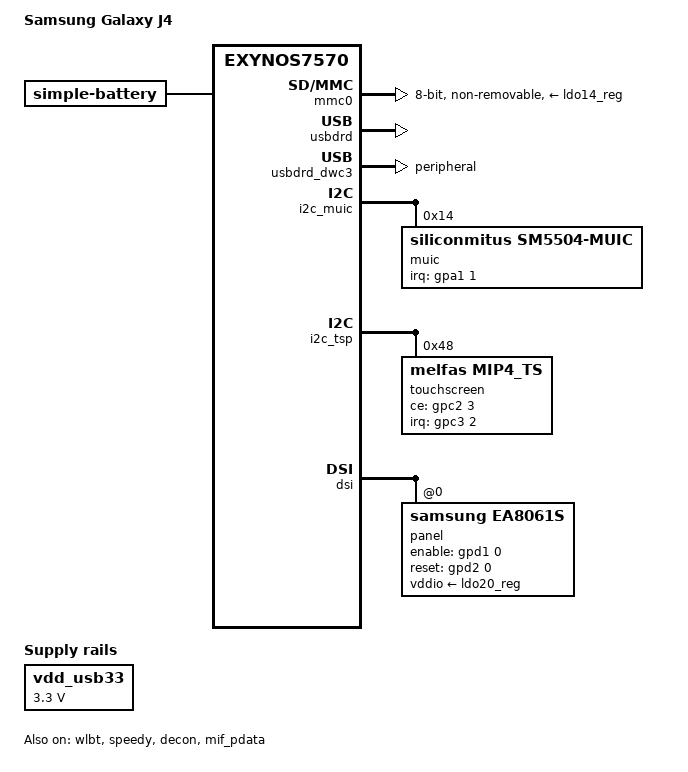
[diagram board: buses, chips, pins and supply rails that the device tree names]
// SPDX-License-Identifier: GPL-2.0
/*
 * Samsung Galaxy J4 (j4lte) device tree source
 *
 * Copyright (c) 2018 Samsung Electronics Co., Ltd.
 */

/dts-v1/;
#include <dt-bindings/gpio/gpio.h>
#include "exynos7570.dtsi"

/ {
	model = "Samsung Galaxy J4";
	compatible = "samsung,j4lte", "samsung,exynos7570";
	chassis-type = "handset";

	chosen {
		bootargs = "console=tty0 ignore_loglevel clk_ignore_unused regulator_ignore_unused root=/dev/mmcblk0p18 rootfstype=ext4";
	};

	/*
	 * Supply of the USB PHY. It comes from the PMIC and is left on by the
	 * bootloader; there is no PMIC driver yet, so describe it as always on.
	 */
	vdd_usb33: regulator-usb33 {
		compatible = "regulator-fixed";
		regulator-name = "vdd_usb33";
		regulator-min-microvolt = <3300000>;
		regulator-max-microvolt = <3300000>;
		regulator-always-on;
	};

	memory@40000000 {
		device_type = "memory";
		reg = <0x0 0x40000000 0x3e800000>,
		      <0x0 0x80000000 0x40000000>;
	};

	reserved-memory {
		#address-cells = <2>;
		#size-cells = <1>;
		ranges;

		/*
		 * Survives a warm reset. S-BOOT clears 0x7e280000-0x7e2fffff at
		 * every boot, so the zones (and their ECC parity at the zone
		 * ends) have to stay below it.
		 */
		ramoops@7e100000 {
			compatible = "ramoops";
			reg = <0x0 0x7e100000 0x180000>;
			record-size = <0x20000>;
			console-size = <0x100000>;
			pmsg-size = <0x20000>;
			ecc-size = <16>;
			no-map;
		};

		bootloader-scratch@7e280000 {
			reg = <0x0 0x7e280000 0x80000>;
			no-map;
		};

		/*
		 * Firmware memory the downstream DT keeps away from the kernel
		 * (/memreserve/ 0x7e700000 0x100000 in exynos7570-rmem.dtsi).
		 * Something outside Linux writes into it at run time: handed
		 * out as RAM, freed sk_buffs there got 64-byte blocks zeroed.
		 */
		firmware@7e700000 {
			reg = <0x0 0x7e700000 0x100000>;
			no-map;
		};

		framebuffer@67000000 {
			reg = <0x0 0x67000000 (720 * 1280 * 4)>;
			no-map;
		};

		tima@52800000 {
			reg = <0x0 0x52800000 0x200000>;
			no-map;
		};

		camera@710ef000 {
			reg = <0x0 0x710ef000 0x1000>;
			no-map;
		};

		video-fw@710f0000 {
			reg = <0x0 0x710f0000 0x110000>;
			no-map;
		};

		video-stream@72200000 {
			reg = <0x0 0x72200000 0x1200000>;
			no-map;
		};

		modem_rmem: modem@73400000 {
			reg = <0x0 0x73400000 0x5c00000>;
			no-map;
		};

		wlbt_rmem: wifibt@79000000 {
			reg = <0x0 0x79000000 0x400000>;
			no-map;
		};
	};
};

&{/} {
	battery: battery {
		compatible = "simple-battery";
		device-chemistry = "lithium-ion";
		voltage-max-design-microvolt = <4350000>;
		charge-full-design-microamp-hours = <3000000>;
	};
};

&mmc0 {
	/* Pins are left as S-BOOT set them up */
	vmmc-supply = <&ldo14_reg>;
	vqmmc-supply = <&ldo15_reg>;

	bus-width = <8>;
	fifo-depth = <64>;
	samsung,dw-mshc-ciu-div = <3>;
	samsung,dw-mshc-sdr-timing = <0 2>;
	samsung,dw-mshc-ddr-timing = <2 4>;
	samsung,hs400-ulp-mode;
	samsung,dw-mshc-hs400-timing = <0 3>;
	samsung,dw-mshc-txdt-crc-timer-fastlimit = <0x34>;
	samsung,dw-mshc-txdt-crc-timer-initval = <0x38>;
	samsung,read-strobe-delay = <0x60>;
	non-removable;
	cap-mmc-highspeed;
	mmc-ddr-1_8v;
	mmc-hs200-1_8v;
	/*
	 * HS400 works (see the ULP timing above) but is left off until the data
	 * corruption seen during large package installs is explained. It is
	 * suspected, not proven, to be involved.
	 */
	/* mmc-hs400-1_8v; */
	no-sd;
	no-sdio;

	status = "okay";
};

/* the USB PLL (usbpll,owner) is left to the AP for now */
&wlbt {
	memory-region = <&wlbt_rmem>;
	status = "okay";
};

&usbdrd {
	vdd33-supply = <&vdd_usb33>;

	status = "okay";
};

&usbdrd_dwc3 {
	dr_mode = "peripheral";
};

&speedy {
	status = "okay";

	pmic@0 {
		compatible = "samsung,s2mpu06-pmic";
		reg = <0x0>;

		interrupt-parent = <&gpa0>;
		interrupts = <5 IRQ_TYPE_LEVEL_LOW>;

		pinctrl-names = "default";
		pinctrl-0 = <&pmic_irq>;

		monitored-battery = <&battery>;
		extcon = <&muic>;

		/* battery NTC on the AP's ADC channel 1 */
		io-channels = <&adc 1>;
		io-channel-names = "adc-temp";
		samsung,temp-adc-table = <311 358 417 483 566 659 772 842 912 957 994 1085 1150 1228 1361 1377 1456 1548 1581 1782 2026 2252 2477 2578 2712 2796 2937 3010 3126 3227 3302 3446 3574 3681>;
		samsung,temp-decidegc-table = <900 850 800 750 700 650 600 570 550 530 500 470 450 430 410 400 380 360 350 300 250 200 150 130 100 80 50 30 0 (-30) (-50) (-100) (-150) (-200)>;

		/* fuel gauge: percent scale in 0.1 % units, low-battery alert in percent */
		samsung,capacity-max = <1000>;
		samsung,capacity-max-margin = <150>;
		samsung,fuel-alert-soc = <1>;

		/* ageing steps: first cycle count, float voltage, gauge's 100 % voltage, cell data */
		samsung,age-cycles = <0 28 36>;
		samsung,age-float-microvolt = <4350000>, <4330000>, <4310000>;
		samsung,age-raw100-millivolt = <4309 4269 4255>;
		samsung,cell-character0 = /bits/ 8 <
			0xff 0x0a 0x79 0x0a 0xf3 0x09 0x7d 0x09 0x0d 0x09 0xa6 0x08
			0x35 0x08 0xd0 0x07 0x8f 0x07 0x38 0x07 0xd7 0x06 0x9c 0x06
			0x73 0x06 0x55 0x06 0x3b 0x06 0x32 0x06 0x17 0x06 0xdf 0x05
			0x8d 0x05 0x88 0x05 0xeb 0x02 0x02 0x02 0x6a 0x08 0x00 0x08
			0x95 0x07 0x2b 0x07 0xc0 0x06 0x56 0x06 0xeb 0x05 0x81 0x05
			0x16 0x05 0xac 0x04 0x41 0x04 0xd7 0x03 0x6c 0x03 0x02 0x03
			0x97 0x02 0x2d 0x02 0xc2 0x01 0x58 0x01 0xed 0x00 0x83 0x00
			0x18 0x00 0xf8 0x0f 0xfe 0x29 0xdc 0x29 0x8a 0x29 0x4d 0x29
			0x28 0x1f 0x23 0x10 0x21 0x21 0x14 0x21 0xf2 0xf7 0xe6 0xf7
			0xd3 0xde 0xca 0xd4 0xd3 0xd4 0x40 0x80 0x26 0x33 0x26 0x40
			0x26 0x5c 0x26 0x5c 0x26 0x5c 0xff 0xff 0x02 0x05 0x14 0x0b
			0x03 0x12 0x06 0x1c 0x0c 0x1c 0x10 0x1c 0x1f 0x1f 0x3c 0x3c
			0x3c 0x3c 0x3c 0x3c 0x3b 0x3c 0x3c 0x3c 0x3d 0x3d 0x3f 0x41
			0x42 0x46 0x4c 0x58 0x80 0xcd 0xff 0xff 0xa9 0x0a 0xa9 0x0a
			0x28 0x0a 0xa7 0x09 0x36 0x09 0xca 0x08 0x77 0x08 0xe9 0x07
			0xb1 0x07 0x67 0x07 0x00 0x07 0xb4 0x06 0x85 0x06 0x62 0x06
			0x45 0x06 0x37 0x06 0x2b 0x06 0x03 0x06 0xbf 0x05 0x85 0x05
			0x74 0x05 0xf0 0x03 0x6f 0x08 0x6f 0x08 0x00 0x08 0x91 0x07
			0x22 0x07 0xb3 0x06 0x44 0x06 0xd5 0x05 0x66 0x05 0xf7 0x04
			0x88 0x04 0x19 0x04 0xaa 0x03 0x3b 0x03 0xcc 0x02 0x5d 0x02
			0xee 0x01 0x7f 0x01 0x10 0x01 0xa2 0x00 0x33 0x00 0xda 0x0f
			0xfe 0x29 0xdc 0x29 0x8a 0x29 0x4d 0x29 0x28 0x1f 0x23 0x10
			0x21 0x21 0x14 0x21 0xf7 0xf7 0xe6 0xf7 0xd3 0xde 0xca 0xd4
			0xd3 0xd4 0x40 0x80 0x26 0x33 0x26 0x40 0x26 0x5c 0x26 0x5c
			0x26 0x5c 0xff 0xff 0x02 0x05 0x14 0x0b 0x03 0x12 0x06 0x1c
			0x0c 0x1c 0x10 0x1c 0x1f 0x1f 0x40 0x40 0x40 0x3f 0x3e 0x3f
			0x3f 0x40 0x40 0x3f 0x40 0x41 0x43 0x46 0x48 0x4b 0x54 0x60
			0x71 0x8b 0xb9 0xcd 0xa9 0x0a 0xa9 0x0a 0x28 0x0a 0xa7 0x09
			0x36 0x09 0xca 0x08 0x77 0x08 0xe9 0x07 0xb1 0x07 0x67 0x07
			0x00 0x07 0xb4 0x06 0x85 0x06 0x62 0x06 0x45 0x06 0x37 0x06
			0x2b 0x06 0x03 0x06 0xbf 0x05 0x85 0x05 0x74 0x05 0xf0 0x03
			0x89 0x08 0x89 0x08 0x19 0x08 0xa9 0x07 0x38 0x07 0xc8 0x06
			0x58 0x06 0xe7 0x05 0x77 0x05 0x07 0x05 0x96 0x04 0x26 0x04
			0xb6 0x03 0x45 0x03 0xd5 0x02 0x65 0x02 0xf4 0x01 0x84 0x01
			0x14 0x01 0xa3 0x00 0x33 0x00 0xd9 0x0f 0xfe 0x29 0xdc 0x29
			0x8a 0x29 0x4d 0x29 0x28 0x1f 0x23 0x10 0x21 0x21 0x14 0x21
			0xf7 0xf7 0xe6 0xf7 0xd3 0xde 0xca 0xd4 0xd3 0xd4 0x40 0x80
			0x26 0x33 0x26 0x40 0x26 0x5c 0x26 0x5c 0x26 0x5c 0xff 0xff
			0x02 0x05 0x14 0x0b 0x03 0x12 0x06 0x1c 0x0c 0x1c 0x10 0x1c
			0x1f 0x1f 0x40 0x40 0x40 0x3f 0x3e 0x3f 0x3f 0x40 0x40 0x3f
			0x40 0x41 0x43 0x46 0x48 0x4b 0x54 0x60 0x71 0x8b 0xb9 0x05
		>;
		samsung,cell-character1 = /bits/ 8 <
			0xcd 0xb8 0x0b 0x00 0x00 0xcd 0xa0 0x0a 0x00 0x00
			0xcd 0x7f 0x0a 0x00 0x00
		>;

		regulators {
			buck1_reg: BUCK1 {
				regulator-name = "BUCK1";
				regulator-min-microvolt = <500000>;
				regulator-max-microvolt = <1300000>;
				regulator-always-on;
				regulator-boot-on;
				regulator-ramp-delay = <12000>;
			};

			buck2_reg: BUCK2 {
				regulator-name = "BUCK2";
				regulator-min-microvolt = <800000>;
				regulator-max-microvolt = <2800000>;
				regulator-always-on;
				regulator-boot-on;
				regulator-ramp-delay = <12000>;
			};

			buck3_reg: BUCK3 {
				regulator-name = "BUCK3";
				regulator-min-microvolt = <800000>;
				regulator-max-microvolt = <2800000>;
				regulator-always-on;
				regulator-boot-on;
				regulator-ramp-delay = <12000>;
			};

			ldo1_reg: LDO1 {
				regulator-name = "vdd_ldo1";
				regulator-min-microvolt = <500000>;
				regulator-max-microvolt = <1300000>;
				regulator-always-on;
				regulator-boot-on;
				regulator-ramp-delay = <12000>;
			};

			ldo2_reg: LDO2 {
				regulator-name = "vdd_ldo2";
				regulator-min-microvolt = <1500000>;
				regulator-max-microvolt = <2000000>;
				regulator-boot-on;
				regulator-always-on;
				regulator-ramp-delay = <12000>;
			};

			ldo3_reg: LDO3 {
				regulator-name = "vdd_ldo3";
				regulator-min-microvolt = <800000>;
				regulator-max-microvolt = <1500000>;
				regulator-boot-on;
				regulator-always-on;
				regulator-ramp-delay = <12000>;
			};

			ldo4_reg: LDO4 {
				regulator-name = "vqmmc";
				regulator-min-microvolt = <1700000>;
				regulator-max-microvolt = <3350000>;
				regulator-ramp-delay = <12000>;
			};

			ldo5_reg: LDO5 {
				regulator-name = "vdd_ldo5";
				regulator-min-microvolt = <1700000>;
				regulator-max-microvolt = <3350000>;
				regulator-boot-on;
				regulator-always-on;
				regulator-ramp-delay = <12000>;
			};

			ldo6_reg: LDO6 {
				regulator-name = "vdd_ldo6";
				regulator-min-microvolt = <500000>;
				regulator-max-microvolt = <1300000>;
				regulator-boot-on;
				regulator-always-on;
				regulator-ramp-delay = <12000>;
			};

			ldo7_reg: LDO7 {
				regulator-name = "vdd_ldo7";
				regulator-min-microvolt = <800000>;
				regulator-max-microvolt = <1300000>;
				regulator-boot-on;
				regulator-always-on;
				regulator-ramp-delay = <12000>;
			};

			ldo8_reg: LDO8 {
				regulator-name = "vdd_ldo8";
				regulator-min-microvolt = <1800000>;
				regulator-max-microvolt = <3375000>;
				regulator-boot-on;
				regulator-always-on;
				regulator-ramp-delay = <12000>;
			};

			ldo13_reg: LDO13 {
				regulator-name = "vdd_ldo13";
				regulator-min-microvolt = <800000>;
				regulator-max-microvolt = <2000000>;
				regulator-ramp-delay = <12000>;
				regulator-always-on;
				regulator-boot-on;
			};

			ldo14_reg: LDO14 {
				regulator-name = "vemmc";
				regulator-min-microvolt = <3000000>;
				regulator-max-microvolt = <3300000>;
				regulator-ramp-delay = <12000>;
			};

			ldo15_reg: LDO15 {
				regulator-name = "vqemmc";
				regulator-min-microvolt = <1700000>;
				regulator-max-microvolt = <1950000>;
				regulator-ramp-delay = <12000>;
			};

			ldo16_reg: LDO16 {
				regulator-name = "VDD_MOTOR_3P3";
				regulator-min-microvolt = <3100000>;
				regulator-max-microvolt = <3100000>;
				regulator-ramp-delay = <12000>;
			};

			ldo17_reg: LDO17 {
				regulator-name = "VDD18_CAM_SENSOR_IO";
				regulator-min-microvolt = <1800000>;
				regulator-max-microvolt = <1800000>;
				regulator-ramp-delay = <12000>;
			};

			ldo18_reg: LDO18 {
				regulator-name = "VDD28_CAM_AF";
				regulator-min-microvolt = <2800000>;
				regulator-max-microvolt = <2800000>;
				regulator-ramp-delay = <12000>;
			};

			ldo19_reg: LDO19 {
				regulator-name = "vtouch_2.2v";
				regulator-min-microvolt = <2200000>;
				regulator-max-microvolt = <2200000>;
				regulator-boot-on;
			};

			ldo20_reg: LDO20 {
				regulator-name = "LCD_1P8";
				regulator-min-microvolt = <1800000>;
				regulator-max-microvolt = <1800000>;
				regulator-boot-on;
			};

			ldo21_reg: LDO21 {
				regulator-name = "vdd_ldo21";
				regulator-min-microvolt = <1800000>;
				regulator-max-microvolt = <3375000>;
				regulator-ramp-delay = <12000>;
			};

			ldo22_reg: LDO22 {
				regulator-name = "vdd_ldo22";
				regulator-min-microvolt = <1800000>;
				regulator-max-microvolt = <3375000>;
				regulator-always-on;
				regulator-ramp-delay = <12000>;
			};

			ldo23_reg: LDO23 {
				regulator-name = "VDD23_CAM_CORE_1P2";
				regulator-min-microvolt = <1200000>;
				regulator-max-microvolt = <1200000>;
				regulator-ramp-delay = <12000>;
			};

			ldo24_reg: LDO24 {
				regulator-name = "AVDD24_CAM_2P8";
				regulator-min-microvolt = <2800000>;
				regulator-max-microvolt = <2800000>;
				regulator-ramp-delay = <12000>;
			};
		};
	};
};

&i2c_muic {
	status = "okay";

	muic: muic@14 {
		compatible = "siliconmitus,sm5504-muic";
		reg = <0x14>;
		interrupt-parent = <&gpa1>;
		interrupts = <1 IRQ_TYPE_EDGE_FALLING>;
		pinctrl-names = "default";
		pinctrl-0 = <&muic_irq>;
	};
};

&i2c_tsp {
	status = "okay";

	touchscreen@48 {
		compatible = "melfas,mip4_ts";
		reg = <0x48>;
		interrupt-parent = <&gpc3>;
		interrupts = <2 IRQ_TYPE_LEVEL_LOW>;
		/* switches the 3.3 V supply of the controller */
		ce-gpios = <&gpc2 3 GPIO_ACTIVE_HIGH>;
		pinctrl-names = "default";
		pinctrl-0 = <&tsp_irq>;
	};
};

&decon {
	status = "okay";
};

&dsi {
	#address-cells = <1>;
	#size-cells = <0>;
	status = "okay";

	samsung,burst-clock-frequency = <490000000>;
	samsung,pll-clock-frequency = <26000000>;
	samsung,esc-clock-frequency = <16000000>;

	panel@0 {
		compatible = "samsung,ea8061s";
		reg = <0>;

		/* S-BOOT leaves the panel on with the video stream running */
		samsung,keep-bootloader-state;

		vddio-supply = <&ldo20_reg>;
		enable-gpios = <&gpd1 0 GPIO_ACTIVE_HIGH>;
		reset-gpios = <&gpd2 0 GPIO_ACTIVE_HIGH>;
	};
};

/*
 * Shannon modem (SS305AP) over shared memory, for the downstream modem_v1
 * interface (drivers/misc/modem_v1): the carveout is split into the CP boot
 * region (0x5800000) and the IPC region (0x400000). mif_pdata is the
 * downstream modem-ss305ap-pdata.dtsi unchanged but for the interrupts.
 */
/ {
	shmem {
		compatible = "samsung,exynos-shm_ipc";
		memory-region = <&modem_rmem>;
		shmem,ipc_offset = <0x5800000>;
		shmem,ipc_size = <0x400000>;
	};

	mif_pdata {
		compatible = "sec_modem,modem_pdata";
		status = "okay";
		/* start = offset of the CP main image in the boot region (from the J4 board dts) */
		reg = <0x0 0x10000 0x0>;

		pinctrl-names = "default";
		pinctrl-0 = <&cp_gpio_j4lte>;

		interrupts = <GIC_SPI 18 IRQ_TYPE_LEVEL_HIGH>,
			     <GIC_SPI 479 IRQ_TYPE_LEVEL_HIGH>;

		/* common pdata */
		mif,name = "ss305ap";
		mif,modem_net = <0>;		/* UMTS_NETWORK */
		mif,modem_type = <10>;		/* SEC_SS310AP */
		mif,use_handover = <0>;		/* not used */
		mif,ipc_version = <50>;		/* SIPC 5.0 */
		mif,link_types = <0x200>;	/* LINKDEV_SHMEM */
		mif,link_name = "shmem";
		mif,link_attrs = <0x7C8>;	/* XMIT_BTDLR(0x400) | DUMP_ALIGNED (0x200) | BOOT_ALIGNED (0x100) | MEM_DUMP (0x80) | MEM_BOOT (0x40) | DPRAM_MAGIC (0x08) */
		mif,num_iodevs = <19>;

		/* mbox pdata */
		mbx_ap2cp_msg = <0>;
		mbx_cp2ap_msg = <1>;
		mbx_ap2cp_united_status = <2>;
		mbx_cp2ap_united_status = <3>;

		mif,int_ap2cp_msg = <0>;
		mif,int_ap2cp_status = <2>;
		mif,int_ap2cp_active = <3>;

		mif,irq_cp2ap_msg = <0>;
		mif,irq_cp2ap_status = <2>;
		mif,irq_cp2ap_active = <3>;
		mif,irq_cp2ap_wake_lock = <8>;

		/* mbox pdata for performance request */
		mbx_cp2ap_dvfsreq = <4>;
		mbx_cp2ap_dvfsreq_mif = <6>;

		mif,irq_cp2ap_perf_req_mif = <6>; /* CP2AP_DVFSREQ_MIF */

		/* CP voltage information */
		mbx_ap2cp_cp_voltage_700 = <5>;
		mbx_ap2cp_cp_voltage_830 = <7>;

		/* mbox pdata for sbi(status bit info) */
		sbi_evs_mode_mask = <0x1>;
		sbi_evs_mode_pos = <7>;
		sbi_lte_active_mask = <0x1>;
		sbi_lte_active_pos = <5>;
		sbi_cp_status_mask = <0xf>;
		sbi_cp_status_pos = <1>;
		sbi_pda_active_mask = <0x1>;
		sbi_pda_active_pos = <5>;
		sbi_ap_status_mask = <0xf>;
		sbi_ap_status_pos = <1>;

		sbi_ds_det_mask = <0x3>;
		sbi_ds_det_pos = <14>;
		sbi_sys_rev_mask = <0xff>;
		sbi_sys_rev_pos = <6>;
		
		sbi_cp_cpu_freq_asv_mask = <0x7>;
		sbi_cp_cpu_freq_asv_pos = <19>;

		iodevs {
			io_device_0 {
				iod,name = "umts_ipc0";
				iod,id = <235>;
				iod,format = <0>;		/* IPC_FMT */
				iod,io_type = <0>;		/* IODEV_MISC */
				iod,links = <0x200>;		/* LINKDEV_SHMEM */
				iod,attrs = <0x2>;		/* ATTR_SIPC5 */
				iod,app = "RIL";
			};
			io_device_1 {
				iod,name = "umts_ipc1";
				iod,id = <236>;
				iod,format = <0>;		/* IPC_FMT */
				iod,io_type = <0>;		/* IODEV_MISC */
				iod,links = <0x200>;		/* LINKDEV_SHMEM */
				iod,attrs = <0x2>;		/* ATTR_SBD_IPC | ATTR_SIPC5 */
				iod,app = "RIL";
			};
			io_device_2 {
				iod,name = "umts_rfs0";
				iod,id = <245>;
				iod,format = <2>;		/* IPC_RFS */
				iod,io_type = <0>;
				iod,links = <0x200>;
				iod,attrs = <0x2>;
				iod,app = "RFS";
			};
			io_device_3 {
				iod,name = "umts_csd";
				iod,id = <1>;
				iod,format = <1>;
				iod,io_type = <0>;
				iod,links = <0x200>;
				iod,attrs = <0x2>;
				iod,app = "CSVT";
			};
			io_device_4 {
				iod,name = "umts_router";
				iod,id = <25>;
				iod,format = <1>;
				iod,io_type = <0>;
				iod,links = <0x200>;
				iod,attrs = <0x2>;
				iod,app = "Data Router";
				iod,max_tx_size = <2048>;
			};
			io_device_5 {
				iod,name = "umts_dm0";
				iod,id = <28>;
				iod,format = <1>;
				iod,io_type = <0>;
				iod,links = <0x200>;
				iod,attrs = <0x2>;
				iod,app = "DIAG";
			};
			io_device_6 {
				iod,name = "rmnet0";
				iod,id = <10>;
				iod,format = <1>;
				iod,io_type = <1>;		/* IODEV_NET */
				iod,links = <0x200>;
				iod,attrs = <0x2>;
				iod,app = "NET";
			};
			io_device_7 {
				iod,name = "rmnet1";
				iod,id = <11>;
				iod,format = <1>;
				iod,io_type = <1>;
				iod,links = <0x200>;
				iod,attrs = <0x2>;
				iod,app = "NET";
						};
			io_device_8 {
				iod,name = "rmnet2";
				iod,id = <12>;
				iod,format = <1>;
				iod,io_type = <1>;
				iod,links = <0x200>;
				iod,attrs = <0x2>;
				iod,app = "NET";
			};
			io_device_9 {
				iod,name = "rmnet3";
				iod,id = <13>;
				iod,format = <1>;
				iod,io_type = <1>;
				iod,links = <0x200>;
				iod,attrs = <0x2>;
				iod,app = "NET";
			};
			io_device_10 {
				iod,name = "rmnet4";
				iod,id = <14>;
				iod,format = <1>;
				iod,io_type = <1>;
				iod,links = <0x200>;
				iod,attrs = <0x2>;
			};
			io_device_11 {
				iod,name = "rmnet5";
				iod,id = <15>;
				iod,format = <1>;
				iod,io_type = <1>;
				iod,links = <0x200>;
				iod,attrs = <0x2>;
			};
			io_device_12 {
				iod,name = "rmnet6";
				iod,id = <16>;
				iod,format = <1>;
				iod,io_type = <1>;
				iod,links = <0x200>;
				iod,attrs = <0x2>;
			};
			io_device_13 {
				iod,name = "rmnet7";
				iod,id = <17>;
				iod,format = <1>;
				iod,io_type = <1>;
				iod,links = <0x200>;
				iod,attrs = <0x2>;
			};
			io_device_14 {
				iod,name = "multipdp";
				iod,id = <0>;
				iod,format = <3>;		/* IPC_MULTI_RAW */
				iod,io_type = <2>;		/* IODEV_DUMMY */
				iod,links = <0x200>;
				iod,attrs = <0x2>;
				iod,app = "RIL";
			};
			io_device_15 {
				iod,name = "umts_boot0";
				iod,id = <215>;
				iod,format = <4>;		/* IPC_BOOT */
				iod,io_type = <0>;
				iod,links = <0x200>;
				iod,attrs = <0x2>;
				iod,app = "CBD";
			};
			io_device_16 {
				iod,name = "umts_ramdump0";
				iod,id = <225>;
				iod,format = <5>;		/* IPC_DUMP */
				iod,io_type = <0>;
				iod,links = <0x200>;
				iod,attrs = <0x202>;		/* ATTR_NO_CHECK_MAXQ | ATTR_SIPC5 */
				iod,app = "CBD";
			};
			io_device_17 {
				iod,name = "smd4";
				iod,id = <33>;
				iod,format = <1>;
				iod,io_type = <0>;
				iod,links = <0x200>;
				iod,attrs = <0x802>;
				iod,option_region = "kor_skt";
			};
			io_device_18 {
				iod,name = "umts_ciq0";
				iod,id = <26>;
				iod,format = <1>;
				iod,io_type = <0>;
				iod,links = <0x200>;
				iod,attrs = <0x802>;
				iod,option_region = "usa_att";
			};
		}; /* end of iodevs */
	}; /* end of mif_pdata */
};

&pinctrl_alive {
	/* a line handed to the CP (downstream exynos7570-pinctrl.dtsi) */
	cp_gpio_j4lte: cp-gpio-j4lte-pins {
		samsung,pins = "gpa2-6";
		samsung,pin-function = <4>;
		samsung,pin-pud = <0>;
	};
};
